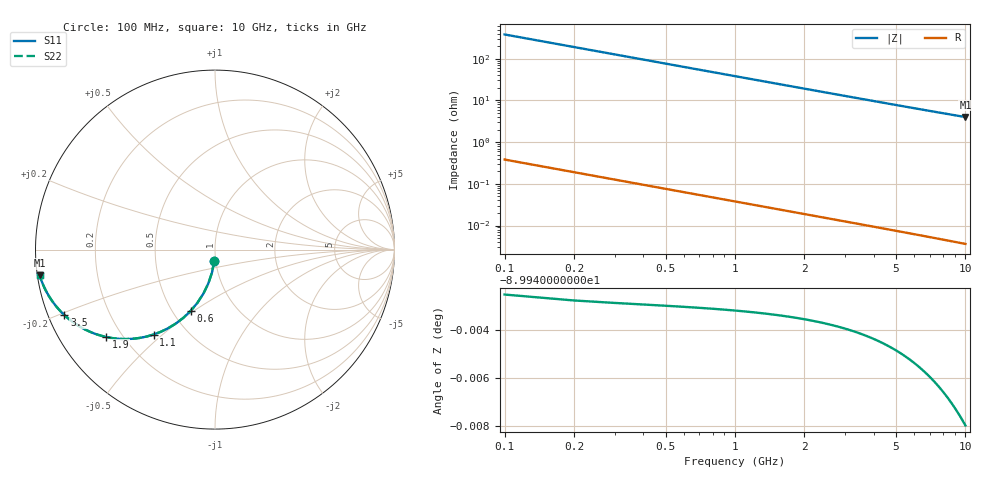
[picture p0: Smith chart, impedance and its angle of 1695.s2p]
# Hz S RI R 50.00
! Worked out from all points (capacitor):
!   100 points, 100 MHz to 10 GHz, reference 50 ohm
!   read as one part in shunt: C = 4.18 pF near 100 MHz
!   lowest |Z| = 3.99 ohm at 10 GHz (marker M1)
!   S11 on the Smith chart (normalised r, x): 100 MHz: 0.98, -0.13; 600 MHz: 0.62, -0.49; 1.1 GHz: 0.33, -0.47; 1.9 GHz: 0.14, -0.35; 3.5 GHz: 0.05, -0.21; 10 GHz: 0.01, -0.07
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1e8  -0.00435 -0.0654  0.9956 -0.0655  0.9956 -0.0655  -0.00435 -0.0654
2e8  -0.0171 -0.129  0.9829 -0.1293  0.9829 -0.1293  -0.0171 -0.129
3e8  -0.0376 -0.1894  0.9624 -0.1898  0.9624 -0.1898  -0.0376 -0.1894
4e8  -0.0648 -0.2454  0.9352 -0.2459  0.9352 -0.2459  -0.0648 -0.2454
5e8  -0.0975 -0.2959  0.9024 -0.2965  0.9024 -0.2965  -0.0975 -0.2959
6e8  -0.1346 -0.3404  0.8654 -0.3412  0.8654 -0.3412  -0.1346 -0.3404
8e8  -0.2163 -0.4107  0.7836 -0.4118  0.7836 -0.4118  -0.2163 -0.4107
9e8  -0.2588 -0.4369  0.7412 -0.438  0.7412 -0.438  -0.2588 -0.4369
1.1e9  -0.3425 -0.4733  0.6575 -0.4747  0.6575 -0.4747  -0.3425 -0.4733
1.4e9  -0.4571 -0.4968  0.5428 -0.4986  0.5428 -0.4986  -0.4571 -0.4968
1.8e9  -0.5813 -0.4917  0.4186 -0.494  0.4186 -0.494  -0.5813 -0.4917
1.9e9  -0.6073 -0.4866  0.3927 -0.4891  0.3927 -0.4891  -0.6073 -0.4866
2.2e9  -0.6742 -0.4667  0.3257 -0.4696  0.3257 -0.4696  -0.6742 -0.4667
2.6e9  -0.7426 -0.435  0.2574 -0.4384  0.2574 -0.4384  -0.7426 -0.435
3e9  -0.7931 -0.4026  0.2069 -0.4065  0.2069 -0.4065  -0.7931 -0.4026
3.4e9  -0.8309 -0.3721  0.169 -0.3765  0.169 -0.3765  -0.8309 -0.3721
3.5e9  -0.8389 -0.3648  0.1611 -0.3694  0.1611 -0.3694  -0.8389 -0.3648
4.2e9  -0.8821 -0.3192  0.1179 -0.3248  0.1179 -0.3248  -0.8821 -0.3192
5.1e9  -0.9167 -0.2724  0.0832 -0.2791  0.0832 -0.2791  -0.9167 -0.2724
6.7e9  -0.9499 -0.213  0.05 -0.222  0.05 -0.222  -0.9499 -0.213
8.4e9  -0.9676 -0.1708  0.0323 -0.1821  0.0323 -0.1821  -0.9676 -0.1708
1e10  -0.977 -0.1424  0.0229 -0.156  0.0229 -0.156  -0.977 -0.1424
